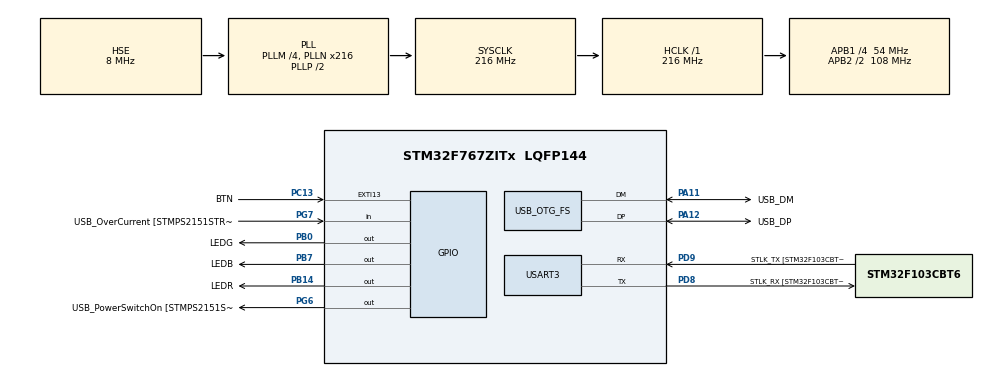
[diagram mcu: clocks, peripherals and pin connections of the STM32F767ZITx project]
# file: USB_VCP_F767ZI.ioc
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Mcu.Family=STM32F7
USB_DEVICE.CLASS_NAME_FS=CDC
USB_DEVICE.USBD_LPM_ENABLED-CDC_FS=0
RCC.CortexFreq_Value=216000000
PG6.Signal=GPIO_Output
USB_DEVICE.PID_CDC_FS=0x01
PB14.GPIO_Label=LEDR
PG6.GPIO_Label=USB_PowerSwitchOn [STMPS2151STR_EN]
PA14.GPIO_Label=TCK
NVIC.PVD_IRQn=true\:0\:0\:false\:false\:true\:true\:true
RCC.SYSCLKSourceVirtual=RCC_SYSCLKSOURCE_PLLCLK
PA11.Mode=Device_Only
PB0.GPIO_Label=LEDG
USB_DEVICE.VirtualMode-CDC_FS=Cdc
PC13.GPIO_Label=BTN
PD9.Mode=Asynchronous
RCC.SYSCLKSource=RCC_SYSCLKSOURCE_PLLCLK
ProjectManager.StackSize=0x400
USART3.VirtualMode-Asynchronous=VM_ASYNC
PA12.Signal=USB_OTG_FS_DP
PH0/OSC_IN.Mode=HSE-External-Oscillator
RCC.HCLKFreq_Value=216000000
RCC.APB2TimFreq_Value=216000000
PH1/OSC_OUT.Signal=RCC_OSC_OUT
PD8.Signal=USART3_TX
RCC.AHBFreq_Value=216000000
RCC.HSE_VALUE=8000000
PB3.Mode=Trace_Asynchronous_SW
RCC.PLLMUL=RCC_PLL_MUL9
PA14.Mode=Trace_Asynchronous_SW
USB_DEVICE.MANUFACTURER_STRING-CDC_FS=ADSEHGAL
PA10.GPIO_Label=USB_ID
PB7.Signal=GPIO_Output
USB_DEVICE.VID-CDC_FS=0x0483
PH1/OSC_OUT.Mode=HSE-External-Oscillator
PB7.GPIO_Label=LEDB
Mcu.Package=LQFP144
PC14/OSC32_IN.Signal=RCC_OSC32_IN
NVIC.OTG_FS_IRQn=true\:0\:0\:false\:false\:true\:false\:true
PA10.Signal=USB_OTG_FS_ID
USB_OTG_FS.VirtualMode=Device_Only
RCC.APB2CLKDivider=RCC_HCLK_DIV2
RCC.APB1TimFreq_Value=108000000
PB3.GPIO_Label=SWO
PG7.Signal=GPIO_Input
PD9.GPIO_Label=STLK_TX [STM32F103CBT6_PA2]
USB_DEVICE.VirtualModeFS=Cdc_FS
PC13.Signal=GPXTI13
PA11.GPIO_Label=USB_DM
PD9.Signal=USART3_RX
RCC.APB1CLKDivider=RCC_HCLK_DIV4
PA12.GPIO_Label=USB_DP
PD8.GPIO_Label=STLK_RX [STM32F103CBT6_PA3]
PA13.Signal=SYS_JTMS-SWDIO
ProjectManager.TargetToolchain=STM32CubeIDE
USB_DEVICE.PRODUCT_STRING_CDC_FS=ADSEHGAL Virtual COM Port
VP_USB_DEVICE_VS_USB_DEVICE_CDC_FS.Mode=CDC_FS
RCC.USBFreq_Value=48000000
RCC.LSE_VALUE=32768
PD8.Mode=Asynchronous
PB14.Signal=GPIO_Output
board=NUCLEO-F767ZI
RCC.VCOOutputFreq_Value=432000000
PH0/OSC_IN.Signal=RCC_OSC_IN
RCC.APB2Freq_Value=108000000
RCC.PRESCALERUSB=RCC_USBCLKSOURCE_PLL_DIV1_5
PG7.GPIO_Label=USB_OverCurrent [STMPS2151STR_FAULT]
PA13.Mode=Trace_Asynchronous_SW
Mcu.Name=STM32F767ZITx
PA13.GPIO_Label=TMS
RCC.48MHZClocksFreq_Value=24000000
PB3.Signal=SYS_JTDO-SWO
RCC.SYSCLKFreq_VALUE=216000000
PA12.Mode=Device_Only
PA11.Signal=USB_OTG_FS_DM
PA14.Signal=SYS_JTCK-SWCLK
ProjectManager.HeapSize=0x600
RCC.HSI_VALUE=16000000
RCC.PLLQ=9
NVIC.PriorityGroup=NVIC_PRIORITYGROUP_4
RCC.PLLM=4
RCC.PLLN=216
PC15/OSC32_OUT.Signal=RCC_OSC32_OUT
RCC.APB1Freq_Value=54000000
PB0.Signal=GPIO_Output

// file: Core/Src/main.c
/* USER CODE BEGIN Header */
/**
 ******************************************************************************
 * @file           : main.c
 * @brief          : Main program body
 ******************************************************************************
 * @attention
 *
 * <h2><center>&copy; Copyright (c) 2021 STMicroelectronics.
 * All rights reserved.</center></h2>
 *
 * This software component is licensed by ST under BSD 3-Clause license,
 * the "License"; You may not use this file except in compliance with the
 * License. You may obtain a copy of the License at:
 *                        opensource.org/licenses/BSD-3-Clause
 *
 ******************************************************************************
 */
/* USER CODE END Header */
#include "main.h"
#include "usb_device.h"

/* USER CODE BEGIN Includes */
#include "usbd_cdc_if.h"
/* USER CODE END Includes */

/* USER CODE BEGIN PD */
#ifdef __GNUC__	//retarget printf to uart3
#define PUTCHAR_PROTOTYPE int __io_putchar(int ch)
#else
#define PUTCHAR_PROTOTYPE int fputc(int ch, FILE *f)
#endif
/* USER CODE END PD */

UART_HandleTypeDef huart3;

/* USER CODE BEGIN PV */
usbDatum usbStruct;	//defined in usbd_cdc_if.h
/* USER CODE END PV */

void SystemClock_Config(void);
static void MX_GPIO_Init(void);
static void MX_USART3_UART_Init(void);

int main(void) {

	/* MCU Configuration--------------------------------------------------------*/

	/* Reset of all peripherals, Initializes the Flash interface and the Systick. */
	HAL_Init();

	/* Configure the system clock */
	SystemClock_Config();

	/* Initialize all configured peripherals */
	MX_GPIO_Init();
	MX_USART3_UART_Init();
	MX_USB_DEVICE_Init();
	/* USER CODE BEGIN 2 */

	HAL_Delay(1000);

	sprintf((char*) usbStruct.txBuff,
			"USB VCP Starting...\n	Compiled on: %s %s\n\n",
			__DATE__, __TIME__);

	printf((char*) usbStruct.txBuff);
	CDC_Transmit_FS(usbStruct.txBuff, sizeof(usbStruct.txBuff));

	usbStruct.rxLastIndex = 0;
	/* USER CODE END 2 */

	/* Infinite loop */
	while (1) {

		/* USER CODE BEGIN 3 */
		if (usbStruct.intFlag == 1) {
			usbStruct.intFlag = 0;
			printf("%s\n", usbStruct.rxBuff);
			CDC_Transmit_FS(usbStruct.rxBuff, (uint16_t) usbStruct.rxLen);
			memset(usbStruct.rxBuff, '\0', usbStruct.rxLen);
			usbStruct.rxLastIndex = 0;
		}
	}
	/* USER CODE END 3 */
}

void SystemClock_Config(void) {
	RCC_OscInitTypeDef RCC_OscInitStruct = { 0 };
	RCC_ClkInitTypeDef RCC_ClkInitStruct = { 0 };
	RCC_PeriphCLKInitTypeDef PeriphClkInitStruct = { 0 };

	/** Configure the main internal regulator output voltage
	 */
	__HAL_RCC_PWR_CLK_ENABLE();
	__HAL_PWR_VOLTAGESCALING_CONFIG(PWR_REGULATOR_VOLTAGE_SCALE1);
	/** Initializes the RCC Oscillators according to the specified parameters
	 * in the RCC_OscInitTypeDef structure.
	 */
	RCC_OscInitStruct.OscillatorType = RCC_OSCILLATORTYPE_HSE;
	RCC_OscInitStruct.HSEState = RCC_HSE_ON;
	RCC_OscInitStruct.PLL.PLLState = RCC_PLL_ON;
	RCC_OscInitStruct.PLL.PLLSource = RCC_PLLSOURCE_HSE;
	RCC_OscInitStruct.PLL.PLLM = 4;
	RCC_OscInitStruct.PLL.PLLN = 216;
	RCC_OscInitStruct.PLL.PLLP = RCC_PLLP_DIV2;
	RCC_OscInitStruct.PLL.PLLQ = 9;
	if (HAL_RCC_OscConfig(&RCC_OscInitStruct) != HAL_OK) {
		Error_Handler();
	}
	/** Activate the Over-Drive mode
	 */
	if (HAL_PWREx_EnableOverDrive() != HAL_OK) {
		Error_Handler();
	}
	/** Initializes the CPU, AHB and APB buses clocks
	 */
	RCC_ClkInitStruct.ClockType = RCC_CLOCKTYPE_HCLK | RCC_CLOCKTYPE_SYSCLK
			| RCC_CLOCKTYPE_PCLK1 | RCC_CLOCKTYPE_PCLK2;
	RCC_ClkInitStruct.SYSCLKSource = RCC_SYSCLKSOURCE_PLLCLK;
	RCC_ClkInitStruct.AHBCLKDivider = RCC_SYSCLK_DIV1;
	RCC_ClkInitStruct.APB1CLKDivider = RCC_HCLK_DIV4;
	RCC_ClkInitStruct.APB2CLKDivider = RCC_HCLK_DIV2;

	if (HAL_RCC_ClockConfig(&RCC_ClkInitStruct, FLASH_LATENCY_7) != HAL_OK) {
		Error_Handler();
	}
	PeriphClkInitStruct.PeriphClockSelection = RCC_PERIPHCLK_USART3
			| RCC_PERIPHCLK_CLK48;
	PeriphClkInitStruct.Usart3ClockSelection = RCC_USART3CLKSOURCE_PCLK1;
	PeriphClkInitStruct.Clk48ClockSelection = RCC_CLK48SOURCE_PLL;
	if (HAL_RCCEx_PeriphCLKConfig(&PeriphClkInitStruct) != HAL_OK) {
		Error_Handler();
	}
}

static void MX_USART3_UART_Init(void) {

	huart3.Instance = USART3;
	huart3.Init.BaudRate = 115200;
	huart3.Init.WordLength = UART_WORDLENGTH_8B;
	huart3.Init.StopBits = UART_STOPBITS_1;
	huart3.Init.Parity = UART_PARITY_NONE;
	huart3.Init.Mode = UART_MODE_TX_RX;
	huart3.Init.HwFlowCtl = UART_HWCONTROL_NONE;
	huart3.Init.OverSampling = UART_OVERSAMPLING_16;
	huart3.Init.OneBitSampling = UART_ONE_BIT_SAMPLE_DISABLE;
	huart3.AdvancedInit.AdvFeatureInit = UART_ADVFEATURE_NO_INIT;
	if (HAL_UART_Init(&huart3) != HAL_OK) {
		Error_Handler();
	}

}

static void MX_GPIO_Init(void) {
	GPIO_InitTypeDef GPIO_InitStruct = { 0 };

	/* GPIO Ports Clock Enable */
	__HAL_RCC_GPIOC_CLK_ENABLE();
	__HAL_RCC_GPIOH_CLK_ENABLE();
	__HAL_RCC_GPIOB_CLK_ENABLE();
	__HAL_RCC_GPIOD_CLK_ENABLE();
	__HAL_RCC_GPIOG_CLK_ENABLE();
	__HAL_RCC_GPIOA_CLK_ENABLE();

	/*Configure GPIO pin Output Level */
	HAL_GPIO_WritePin(GPIOB, LEDG_Pin | LEDR_Pin | LEDB_Pin, GPIO_PIN_RESET);

	/*Configure GPIO pin Output Level */
	HAL_GPIO_WritePin(USB_PowerSwitchOn_GPIO_Port, USB_PowerSwitchOn_Pin,
			GPIO_PIN_RESET);

	/*Configure GPIO pin : BTN_Pin */
	GPIO_InitStruct.Pin = BTN_Pin;
	GPIO_InitStruct.Mode = GPIO_MODE_IT_RISING;
	GPIO_InitStruct.Pull = GPIO_NOPULL;
	HAL_GPIO_Init(BTN_GPIO_Port, &GPIO_InitStruct);

	/*Configure GPIO pins : LEDG_Pin LEDR_Pin LEDB_Pin */
	GPIO_InitStruct.Pin = LEDG_Pin | LEDR_Pin | LEDB_Pin;
	GPIO_InitStruct.Mode = GPIO_MODE_OUTPUT_PP;
	GPIO_InitStruct.Pull = GPIO_NOPULL;
	GPIO_InitStruct.Speed = GPIO_SPEED_FREQ_LOW;
	HAL_GPIO_Init(GPIOB, &GPIO_InitStruct);

	/*Configure GPIO pin : USB_PowerSwitchOn_Pin */
	GPIO_InitStruct.Pin = USB_PowerSwitchOn_Pin;
	GPIO_InitStruct.Mode = GPIO_MODE_OUTPUT_PP;
	GPIO_InitStruct.Pull = GPIO_NOPULL;
	GPIO_InitStruct.Speed = GPIO_SPEED_FREQ_LOW;
	HAL_GPIO_Init(USB_PowerSwitchOn_GPIO_Port, &GPIO_InitStruct);

	/*Configure GPIO pin : USB_OverCurrent_Pin */
	GPIO_InitStruct.Pin = USB_OverCurrent_Pin;
	GPIO_InitStruct.Mode = GPIO_MODE_INPUT;
	GPIO_InitStruct.Pull = GPIO_NOPULL;
	HAL_GPIO_Init(USB_OverCurrent_GPIO_Port, &GPIO_InitStruct);

}

/* USER CODE BEGIN 4 */
PUTCHAR_PROTOTYPE {	//retarget printf to uart3
	return HAL_UART_Transmit(&huart3, (uint8_t*) &ch, 1, HAL_MAX_DELAY);
}
/* USER CODE END 4 */

void Error_Handler(void) {
	__disable_irq();
	while (1) {
	}
}

/************************ (C) COPYRIGHT STMicroelectronics *****END OF FILE****/
